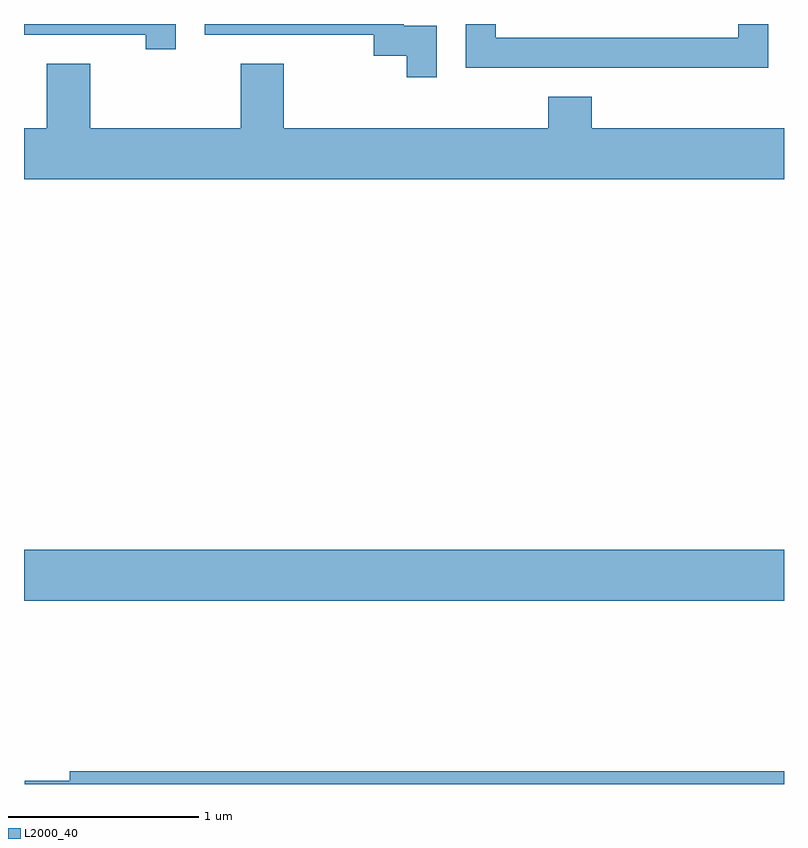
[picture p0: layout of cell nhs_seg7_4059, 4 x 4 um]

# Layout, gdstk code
import gdstk
lib = gdstk.Library(unit=1e-6, precision=1e-09)
def R(c, l, rs):  # rectangles x0, y0, x1, y1
    for r in rs: c.add(gdstk.rectangle(r[:2], r[2:], *l))
def P(c, l, *ps):  # polygons
    for p in ps: c.add(gdstk.Polygon(p, *l))
L2000_40 = (2000, 40)

nhs_seg7_4059 = lib.new_cell('nhs_seg7_4059')
R(nhs_seg7_4059, L2000_40, [(309.611,1703.216,313.611,1703.484)])
P(nhs_seg7_4059, L2000_40, [(310.409,1706.252),(309.611,1706.252),(309.611,1706.196),(310.251,1706.196),(310.251,1706.118),(310.409,1706.118)],
  [(313.529,1706.252),(313.371,1706.252),(313.371,1706.179),(312.094,1706.179),(312.094,1706.252),(311.936,1706.252),(311.936,1706.021),(313.529,1706.021)],
  [(311.784,1706.244),(311.609,1706.244),(311.609,1706.252),(310.561,1706.252),(310.561,1706.196),(311.451,1706.196),(311.451,1706.086),(311.626,1706.086),(311.626,1705.973),(311.784,1705.973)],
  [(313.611,1705.704),(312.599,1705.704),(312.599,1705.869),(312.371,1705.869),(312.371,1705.704),(310.979,1705.704),(310.979,1706.044),(310.751,1706.044),(310.751,1705.704),(309.959,1705.704),(309.959,1706.044),(309.731,1706.044),(309.731,1705.704),(309.611,1705.704),(309.611,1705.436),(313.611,1705.436)],
  [(313.611,1702.319),(309.851,1702.319),(309.851,1702.269),(309.616,1702.269),(309.616,1702.252),(313.611,1702.252)])

lib.write_gds('nhs_seg7_4059.gds')
